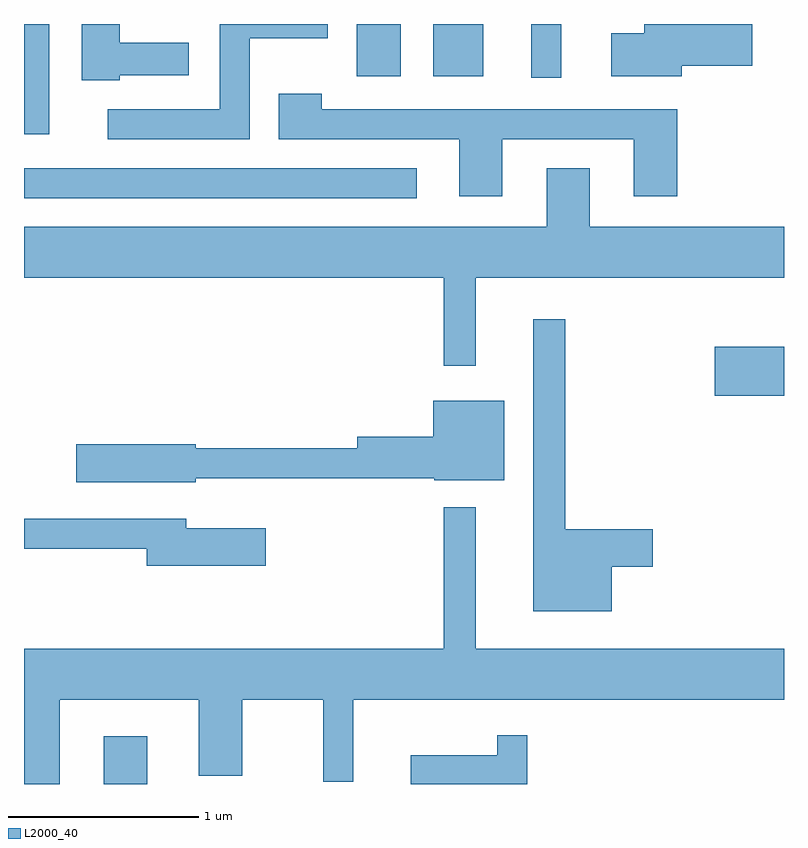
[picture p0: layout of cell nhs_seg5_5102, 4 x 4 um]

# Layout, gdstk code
import gdstk
lib = gdstk.Library(unit=1e-6, precision=1e-09)
def R(c, l, rs):  # rectangles x0, y0, x1, y1
    for r in rs: c.add(gdstk.rectangle(r[:2], r[2:], *l))
def P(c, l, *ps):  # polygons
    for p in ps: c.add(gdstk.Polygon(p, *l))
L2000_40 = (2000, 40)

nhs_seg5_5102 = lib.new_cell('nhs_seg5_5102')
R(nhs_seg5_5102, L2000_40, [(336.031,1514.072,336.259,1514.324), (339.246,1516.116,339.611,1516.374), (335.611,1517.156,337.678,1517.314), (335.611,1517.491,335.744,1518.072), (338.281,1517.788,338.439,1518.072), (337.361,1517.796,337.594,1518.072), (337.766,1517.796,338.029,1518.072)])
P(nhs_seg5_5102, L2000_40, [(339.074,1517.851),(339.444,1517.851),(339.444,1518.072),(338.876,1518.072),(338.876,1518.024),(338.701,1518.024),(338.701,1517.796),(339.074,1517.796)],
  [(336.114,1517.801),(336.479,1517.801),(336.479,1517.974),(336.114,1517.974),(336.114,1518.072),(335.916,1518.072),(335.916,1517.776),(336.114,1517.776)],
  [(336.799,1517.996),(337.209,1517.996),(337.209,1518.072),(336.641,1518.072),(336.641,1517.624),(336.053,1517.624),(336.053,1517.466),(336.799,1517.466)],
  [(338.129,1517.466),(338.821,1517.466),(338.821,1517.166),(339.049,1517.166),(339.049,1517.624),(337.179,1517.624),(337.179,1517.704),(336.951,1517.704),(336.951,1517.466),(337.901,1517.466),(337.901,1517.166),(338.129,1517.166)],
  [(337.989,1516.736),(339.611,1516.736),(339.611,1517.004),(338.589,1517.004),(338.589,1517.314),(338.361,1517.314),(338.361,1517.004),(335.611,1517.004),(335.611,1516.736),(337.821,1516.736),(337.821,1516.273),(337.989,1516.273)],
  [(338.704,1515.216),(338.919,1515.216),(338.919,1515.414),(338.459,1515.414),(338.459,1516.518),(338.291,1516.518),(338.291,1514.981),(338.704,1514.981)],
  [(336.514,1515.681),(337.77,1515.681),(337.77,1515.671),(338.139,1515.671),(338.139,1516.089),(337.766,1516.089),(337.766,1515.899),(337.366,1515.899),(337.366,1515.839),(336.514,1515.839),(336.514,1515.859),(335.886,1515.859),(335.886,1515.661),(336.514,1515.661)],
  [(335.799,1514.516),(336.531,1514.516),(336.531,1514.116),(336.759,1514.116),(336.759,1514.516),(337.186,1514.516),(337.186,1514.083),(337.344,1514.083),(337.344,1514.516),(339.611,1514.516),(339.611,1514.784),(337.989,1514.784),(337.989,1515.528),(337.821,1515.528),(337.821,1514.784),(335.611,1514.784),(335.611,1514.072),(335.799,1514.072)],
  [(336.884,1515.419),(336.464,1515.419),(336.464,1515.469),(335.611,1515.469),(335.611,1515.311),(336.256,1515.311),(336.256,1515.221),(336.884,1515.221)],
  [(338.259,1514.328),(338.101,1514.328),(338.101,1514.224),(337.646,1514.224),(337.646,1514.072),(338.259,1514.072)])

lib.write_gds('nhs_seg5_5102.gds')
